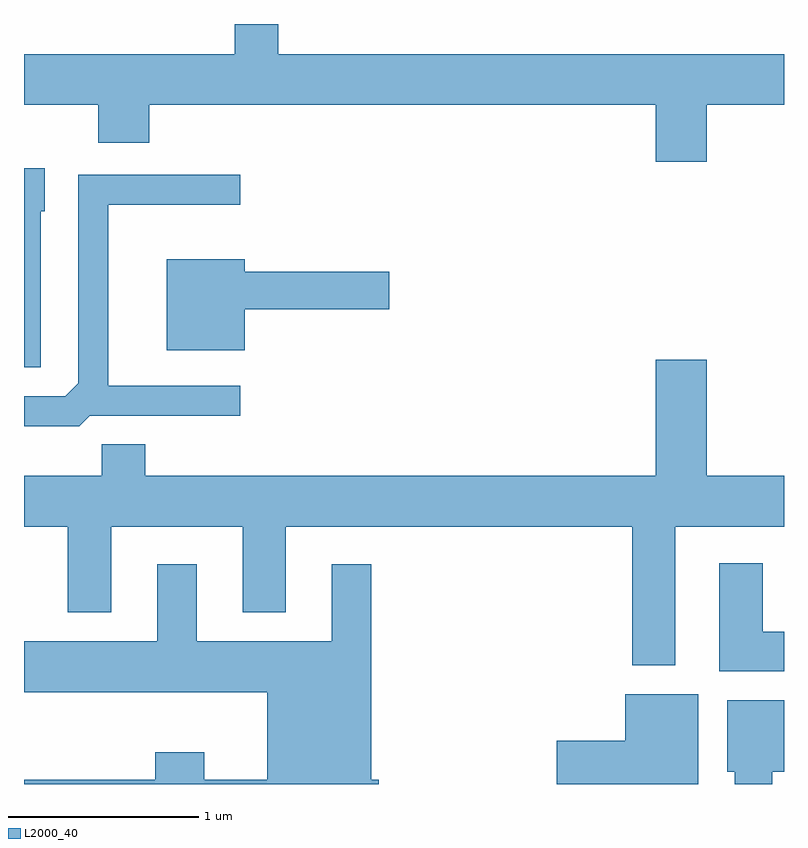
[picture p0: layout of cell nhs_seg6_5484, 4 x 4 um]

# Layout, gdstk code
import gdstk
lib = gdstk.Library(unit=1e-6, precision=1e-09)
def P(c, l, *ps):  # polygons
    for p in ps: c.add(gdstk.Polygon(p, *l))
L2000_40 = (2000, 40)

nhs_seg6_5484 = lib.new_cell('nhs_seg6_5484')
P(nhs_seg6_5484, L2000_40, [(355.204,1627.736),(355.611,1627.736),(355.611,1628.004),(352.949,1628.004),(352.949,1628.162),(352.721,1628.162),(352.721,1628.004),(351.611,1628.004),(351.611,1627.736),(352.001,1627.736),(352.001,1627.536),(352.269,1627.536),(352.269,1627.736),(354.936,1627.736),(354.936,1627.436),(355.204,1627.436)],
  [(351.699,1627.176),(351.719,1627.176),(351.719,1627.404),(351.611,1627.404),(351.611,1626.356),(351.699,1626.356)],
  [(351.957,1626.101),(352.748,1626.101),(352.748,1626.259),(352.054,1626.259),(352.054,1627.211),(352.748,1627.211),(352.748,1627.369),(351.896,1627.369),(351.896,1626.272),(351.829,1626.204),(351.611,1626.204),(351.611,1626.046),(351.902,1626.046)],
  [(352.774,1626.661),(353.534,1626.661),(353.534,1626.859),(352.774,1626.859),(352.774,1626.924),(352.361,1626.924),(352.361,1626.446),(352.774,1626.446)],
  [(355.039,1625.516),(355.611,1625.516),(355.611,1625.784),(355.204,1625.784),(355.204,1626.394),(354.936,1626.394),(354.936,1625.784),(352.249,1625.784),(352.249,1625.949),(352.021,1625.949),(352.021,1625.784),(351.611,1625.784),(351.611,1625.516),(351.841,1625.516),(351.841,1625.066),(352.069,1625.066),(352.069,1625.516),(352.761,1625.516),(352.761,1625.066),(352.989,1625.066),(352.989,1625.516),(354.811,1625.516),(354.811,1624.786),(355.039,1624.786)],
  [(355.611,1624.964),(355.499,1624.964),(355.499,1625.324),(355.271,1625.324),(355.271,1624.756),(355.611,1624.756)],
  [(353.479,1624.184),(353.439,1624.184),(353.439,1625.319),(353.231,1625.319),(353.231,1624.914),(352.519,1624.914),(352.519,1625.319),(352.311,1625.319),(352.311,1624.914),(351.611,1624.914),(351.611,1624.646),(352.891,1624.646),(352.891,1624.184),(352.559,1624.184),(352.559,1624.329),(352.301,1624.329),(352.301,1624.184),(351.611,1624.184),(351.611,1624.162),(353.479,1624.162)],
  [(355.159,1624.634),(354.776,1624.634),(354.776,1624.389),(354.416,1624.389),(354.416,1624.162),(355.159,1624.162)],
  [(355.549,1624.226),(355.611,1624.226),(355.611,1624.604),(355.311,1624.604),(355.311,1624.226),(355.351,1624.226),(355.351,1624.162),(355.549,1624.162)])

lib.write_gds('nhs_seg6_5484.gds')
